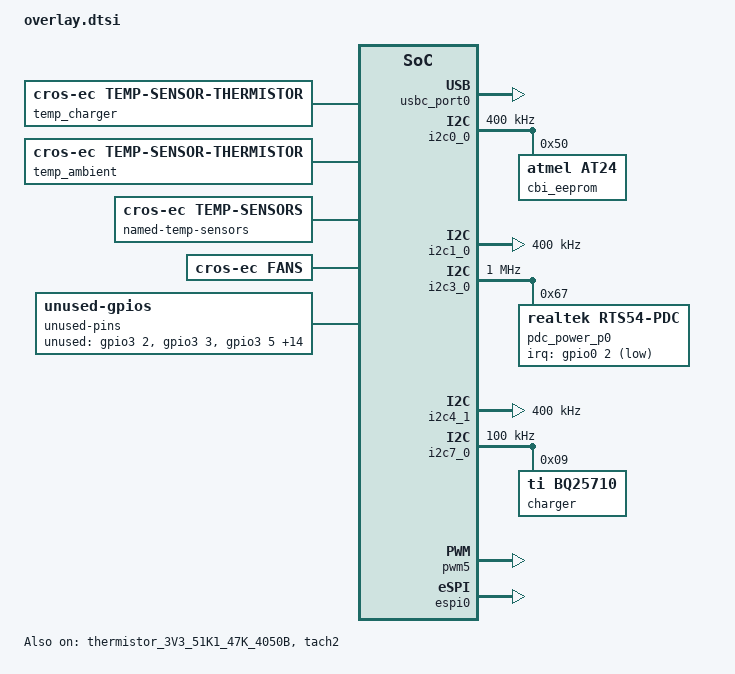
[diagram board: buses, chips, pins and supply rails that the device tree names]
/* Copyright 2021 The ChromiumOS Authors
 * Use of this source code is governed by a BSD-style license that can be
 * found in the LICENSE file.
 */

#include <cros/thermistor/thermistor.dtsi>
#include <dt-bindings/usbc_mux.h>
#include <dt-bindings/usb_pd_tcpm.h>
#include <usbc-policy.dtsi>

/ {
	aliases {
		gpio-cbi-wp = &gpio_ec_cbi_wp;
		gpio-wp = &gpio_ec_wp_odl;
		int-wp = &int_wp_l;
		gpio-kbd-kso2 = &gpio_ec_kso_02_inv;
	};

	ec-console {
		compatible = "ec-console";
		disabled = "events", "lpc", "hostcmd";
	};

	batteries {
		default_battery: cosmx_ap20cbl-4 {
			compatible = "cosmx,ap20cbl-4", "battery-smart";
		};
		lges_ap23a8l {
			compatible = "lges,ap23a8l", "battery-smart";
		};
		panasonic_ap23a5l {
			compatible = "panasonic,ap23a5l", "battery-smart";
		};
	};

	hibernate-wake-pins {
		compatible = "cros-ec,hibernate-wake-pins";
		wakeup-irqs = <
			&int_power_button
			&int_lid_open
		>;
	};

	gpio-interrupts {
		compatible = "cros-ec,gpio-interrupts";

		int_power_button: power_button {
			irq-pin = <&gpio_gsc_ec_pwr_btn_odl>;
			flags = <GPIO_INT_EDGE_BOTH>;
			handler = "power_button_interrupt";
		};
		int_wp_l: wp_l {
			irq-pin = <&gpio_ec_wp_odl>;
			flags = <GPIO_INT_EDGE_BOTH>;
			handler = "switch_interrupt";
		};
		int_lid_open: lid_open {
			irq-pin = <&gpio_lid_open>;
			flags = <GPIO_INT_EDGE_BOTH>;
			handler = "lid_interrupt";
		};
		int_tablet_mode: tablet_mode {
			irq-pin = <&gpio_tablet_mode_l>;
			flags = <GPIO_INT_EDGE_BOTH>;
			handler = "gmr_tablet_switch_isr";
		};
		int_lid_accel: ec_lid_accel  {
			irq-pin = <&gpio_acc_int_l>;
			flags = <GPIO_INT_EDGE_FALLING>;
			handler = "bma4xx_interrupt";
		};
		int_vol_down: vol_down {
			irq-pin = <&gpio_voldn_btn_odl>;
			flags = <GPIO_INT_EDGE_BOTH>;
			handler = "button_interrupt";
		};
		int_vol_up: vol_up {
			irq-pin = <&gpio_volup_btn_odl>;
			flags = <GPIO_INT_EDGE_BOTH>;
			handler = "button_interrupt";
		};
		int_ac_present: ac_present {
			irq-pin = <&gpio_ec_acok_od>;
			flags = <GPIO_INT_EDGE_BOTH>;
			handler = "extpower_interrupt";
		};
		int_soc_enkbl: soc_enbkl {
			irq-pin = <&gpio_soc_enbkl>;
			flags = <GPIO_INT_EDGE_BOTH>;
			handler = "soc_signal_interrupt";
		};
	};

	named-gpios {
		/*
		 * Set I2C pins for type C sub-board to be low voltage (I2C5_1).
		 * We do this for all boards, since the pins are 3.3V tolerant,
		 * and the only 2 types of sub-boards used on nivviks both have
		 * type-C ports on them.
		 */
		gpio_sb_3: sb-3 {
			gpios = <&gpiof 4 (GPIO_OPEN_DRAIN | GPIO_VOLTAGE_1P8)>;
			no-auto-init;
		};
		gpio_sb_4: sb-4 {
			gpios = <&gpiof 5 (GPIO_INPUT | GPIO_VOLTAGE_1P8)>;
			no-auto-init;
		};
		gpio_fan_enable: fan-enable {
			gpios = <&gpio6 3 GPIO_OUTPUT>;
		};
		gpio_fan_tach: fan-tach {
			gpios = <&gpio7 3 GPIO_INPUT_PULL_UP>;
		};
		ec-i2c-sensor-scl {
			gpios = <&gpio9 0 (GPIO_INPUT | GPIO_VOLTAGE_1P8)>;
		};
		ec-i2c-sensor-sda {
			gpios = <&gpio8 7 (GPIO_INPUT | GPIO_VOLTAGE_1P8)>;
		};
	};

	/*
	 * Aliases used for sub-board GPIOs.
	 */
	aliases {
		/*
		 * HPD pins for HDMI sub-board.
		 */
		gpio-hdmi-en-odl = &gpio_sb_3;
		gpio-hpd-odl = &gpio_sb_4;
	};

	temp_memory: memory {
		compatible = "cros-ec,temp-sensor-thermistor";
		thermistor = <&thermistor_3V3_51K1_47K_4050B>;
		adc = <&adc_temp_sensor_1>;
	};
	temp_charger: charger {
		compatible = "cros-ec,temp-sensor-thermistor";
		thermistor = <&thermistor_3V3_51K1_47K_4050B>;
		adc = <&adc_temp_sensor_2>;
	};
	temp_ambient: ambient {
		compatible = "cros-ec,temp-sensor-thermistor";
		thermistor = <&thermistor_3V3_51K1_47K_4050B>;
		adc = <&adc_temp_sensor_3>;
	};

	named-temp-sensors {
		compatible = "cros-ec,temp-sensors";
		memory {
			temp_fan_off = <35>;
			temp_fan_max = <70>;
			power-good-pin = <&gpio_ec_soc_dsw_pwrok>;
			sensor = <&temp_memory>;
		};
		charger {
			power-good-pin = <&gpio_ec_soc_dsw_pwrok>;
			sensor = <&temp_charger>;
		};
		ambient {
			power-good-pin = <&gpio_ec_soc_dsw_pwrok>;
			sensor = <&temp_ambient>;
		};
	};

	usba {
		compatible = "cros-ec,usba-port-enable-pins";
		/*
		 * sb_2 is only configured as GPIO when USB-A1 is present,
		 * but it's still safe to control when disabled.
		 *
		 * ILIM_SEL pins are referred to by legacy enum name,
		 * GPIO_USB*_ILIM_SEL. The one for port A1 is unused on
		 * sub-boards that don't have USB-A so is safe to control
		 * regardless of system configuration.
		 */
		enable-pins = <&gpio_en_usb_a0_vbus &gpio_en_sub_usb_a1_vbus>;
		status = "okay";
	};

	usbc {
		#address-cells = <1>;
		#size-cells = <0>;
		usbc_port0: port0@0 {
			compatible = "named-usbc-port";
			reg = <0>;
			chg = <&charger>;
			pdc = <&pdc_power_p0>;
			policy = <&cros_policy>;
		};
	};

	fans {
		compatible = "cros-ec,fans";

		fan_0 {
			pwms = <&pwm5 5 PWM_KHZ(25) PWM_POLARITY_NORMAL>;
			rpm_min = <2200>;
			rpm_start = <2200>;
			rpm_max = <6900>;
			tach = <&tach2>;
			enable_gpio = <&gpio_fan_enable>;
		};
	};

	 /*
	  * Declare unused GPIOs so that they are shut down
	  * and use minimal power
	  */
	  unused-pins {
		compatible = "unused-gpios";
		unused-gpios =
			<&gpio3 2 0>,
			<&gpio3 3 0>,
			<&gpio3 5 0>,
			<&gpio3 6 0>,
			<&gpio5 7 0>,
			<&gpio6 0 0>,
			<&gpio6 6 0>,
			<&gpio8 3 0>,
			<&gpio8 6 0>,
			<&gpio9 6 0>,
			<&gpioa 0 0>,
			<&gpiob 1 0>,
			<&gpiob 7 0>,
			<&gpiod 5 0>,
			<&gpioe 2 0>,
			<&gpiof 2 0>,
			<&gpiof 3 0>;
	 };
};

&thermistor_3V3_51K1_47K_4050B {
	status = "okay";
};

&adc_ec_vsense_pp3300_s5 {
	/*
	 * Voltage divider on input has 47k upper and 220k lower legs with
	 * 2714 mV full-scale reading on the ADC. Apply the largest possible
	 * multiplier (without overflowing int32) to get the best possible
	 * approximation of the actual ratio, but derate by a factor of two to
	 * ensure unexpectedly high values won't overflow.
	 */
	mul = <(791261 / 2)>;
	div = <(651975 / 2)>;
};

/* Set bus speeds for I2C */
&i2c0_0 {
	label = "I2C_EEPROM";
	clock-frequency = <I2C_BITRATE_FAST>;

	cbi_eeprom: eeprom@50 {
		compatible = "atmel,at24";
		reg = <0x50>;
		size = <2048>;
		pagesize = <16>;
		address-width = <8>;
		timeout = <5>;
	};
};

&i2c1_0 {
	label = "I2C_SENSOR";
	clock-frequency = <I2C_BITRATE_FAST>;
};

&i2c3_0 {
	label = "I2C_PORT_PD";
	clock-frequency = <I2C_BITRATE_FAST_PLUS>;

	pdc_power_p0: rts54-pdc@67 {
		compatible = "realtek,rts54-pdc";
		reg = <0x67>;
		irq-gpios = <&gpio0 2 GPIO_ACTIVE_LOW>;
	};
};

&i2c4_1 {
	clock-frequency = <I2C_BITRATE_FAST>;
};

&i2c7_0 {
	label = "I2C_BATTERY";
	label = "I2C_PORT_CHARGER";

	clock-frequency = <I2C_BITRATE_STANDARD>;
	charger: bq25710@9 {
		compatible = "ti,bq25710";
		status = "okay";
		reg = <0x9>;
	};
};

&pwm5_gpb7 {
	drive-open-drain;
};

&pwm5 {
	status = "okay";
	pinctrl-0 = <&pwm5_gpb7>;
	pinctrl-names = "default";
};

/* Tachometer for fan speed measurement */
&tach2 {
	status = "okay";
	pinctrl-0 = <&ta2_1_in_gp73>;
	pinctrl-names = "default";
	port = <NPCX_TACH_PORT_A>; /* port-A is selected */
	sample-clk = <NPCX_TACH_FREQ_LFCLK>; /* Use LFCLK as sampling clock */
	pulses-per-round = <2>; /* number of pulses per round of encoder */
};

/* host interface */
&espi0 {
	status = "okay";
	pinctrl-0 = <&espi_lpc_gp46_47_51_52_53_54_55_57>;
	pinctrl-names = "default";
};

/*
 * Declare GPIOs that have leakage current caused by board issues here. NPCX ec
 * will disable their input buffers before entering deep sleep and restore them
 * after waking up automatically for better power consumption.
 */
&power_leakage_io {
	leak-gpios = <&gpioa 4 GPIO_OPEN_DRAIN
		      &gpiof 1 GPIO_OPEN_DRAIN>;
};
